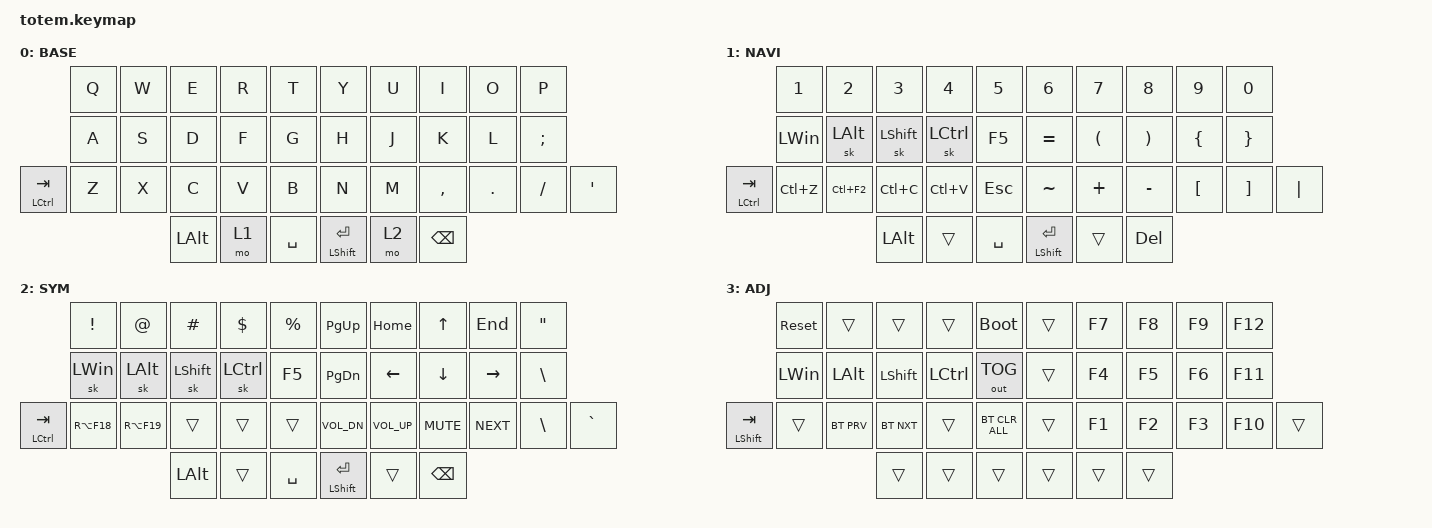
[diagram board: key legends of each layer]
//
//                                                        ▀▀▀▀▀     ▀▀▀▀▀          ▀▀█▀▀
//                                                        ▄▀▀▀▄  ▄  ▄▀▀▀▄  ▄  ▄▀▀▀▄  █  ▄▀▀▀▄
//                                                        █   █  █  █   █  █  █   █  █  █   █
//                                                         ▀▀▀   █   ▀▀▀   █   ▀▀▀   ▀   ▀▀▀
//                                                               █      ▄▄▄█▄▄▄    █   █  
//                                                               ▀      █  █  █     █▄█
//                                                             ▀▀▀▀▀    █  █  █      ▀
//                                                                      ▀  ▀  ▀
//
// ▄▄▄▄▄▄▄▄▄▄▄▄▄▄▄▄▄▄▄▄▄▄▄▄▄▄▄▄▄▄▄▄▄▄▄▄▄▄▄▄▄▄▄▄▄▄▄▄▄▄▄▄▄▄▄▄▄▄▄▄▄▄▄▄▄▄▄▄▄▄▄▄▄▄▄▄▄▄▄▄▄▄▄▄▄▄▄▄▄▄▄▄▄▄▄▄▄▄▄▄▄▄▄▄▄▄▄▄▄▄▄▄▄▄▄▄▄▄▄▄▄▄▄▄▄▄▄▄▄▄▄▄▄▄▄▄▄▄▄▄▄▄▄▄▄▄▄▄▄

#include <behaviors.dtsi>
#include <dt-bindings/zmk/bt.h>
#include <dt-bindings/zmk/keys.h>
#include <dt-bindings/zmk/outputs.h>

#define BASE 0
#define NAV  1
#define SYM  2
#define ADJ  3
#define TVP1 4
#define TVP2 5

&mt {
    global-quick-tap;
    flavor = "hold-preferred";
    tapping-term-ms = <200>;
    quick-tap-ms = <100>;
};

&lt { require-prior-idle-ms = <130>; };

&sk { release-after-ms = <500>; };

/ {
    combos {
        compatible = "zmk,combos";

        combo_esc {
            bindings = <&kp ESC>;
            key-positions = <16 18>;
        };

        combo_win {
            bindings = <&kp LEFT_WIN>;
            key-positions = <1 3>;
        };

        combo_enter {
            bindings = <&none>;
            key-positions = <6 8>;
        };

        F1_combo {
            bindings = <&kp F1>;
            key-positions = <0 1>;
        };

        F2_combo {
            bindings = <&kp F2>;
            key-positions = <1 2>;
        };
    };

    macros {
        gif: gif {
            label = "giphy";
            compatible = "zmk,behavior-macro";
            #binding-cells = <0>;
            bindings =
                <&macro_press>,
                <&kp LSHFT>,
                <&macro_tap>,
                <&kp N2>,
                <&macro_release>,
                <&kp LSHFT>,
                <&macro_tap>,
                <&kp G &kp I &kp F>;
        };
    };

    keymap {
        compatible = "zmk,keymap";

        // ▄▄▄▄▄▄▄▄▄▄▄▄▄▄▄▄▄▄▄▄▄▄▄▄▄▄▄▄▄▄▄▄▄▄▄▄▄▄▄▄▄▄▄▄▄▄▄▄▄▄▄▄▄▄▄▄▄▄▄▄▄▄▄▄▄▄▄▄▄▄▄▄▄▄▄▄▄▄▄▄▄▄▄▄▄▄▄▄▄▄▄▄▄▄▄▄▄▄▄▄▄▄▄▄▄▄▄▄▄▄▄▄▄▄▄▄▄▄▄▄▄▄▄▄▄▄▄▄▄▄▄▄▄▄▄▄▄▄▄▄▄▄▄▄▄▄▄▄▄

        base_layer {
            // ┏━━━━━━━━━━━━━━━━━━━━━━━━━━━━━━━━━━━━━━━┓

            label = "BASE";

            // ┗━━━━━━━━━━━━━━━━━━━━━━━━━━━━━━━━━━━━━━━┛
            //             ┏━━━━━━━━━━━┳━━━━━━━━━━━┳━━━━━━━━━━━┳━━━━━━━━━━━┳━━━━━━━━━━━┓   ┏━━━━━━━━━━━┳━━━━━━━━━━━┳━━━━━━━━━━━┳━━━━━━━━━━━┳━━━━━━━━━━━┓
            //             ┃     Q     ┃     W     ┃     F     ┃     P     ┃     G     ┃   ┃     J     ┃     L     ┃     U     ┃     Y     ┃     ;     ┃
            //             ┣━━━━━━━━━━━╋━━━━━━━━━━━╋━━━━━━━━━━━╋━━━━━━━━━━━╋━━━━━━━━━━━┫   ┣━━━━━━━━━━━╋━━━━━━━━━━━╋━━━━━━━━━━━╋━━━━━━━━━━━╋━━━━━━━━━━━┫
            //             ┃     A     ┃     R     ┃     S     ┃     T     ┃     D     ┃   ┃     H     ┃     N     ┃     E     ┃     I     ┃     O     ┃
            // ┏━━━━━━━━━━━╋━━━━━━━━━━━╋━━━━━━━━━━━╋━━━━━━━━━━━╋━━━━━━━━━━━╋━━━━━━━━━━━┫   ┣━━━━━━━━━━━╋━━━━━━━━━━━╋━━━━━━━━━━━╋━━━━━━━━━━━╋━━━━━━━━━━━╋━━━━━━━━━━━┓
            // ┃     Q     ┃     Z     ┃     X     ┃     C     ┃     V     ┃     B     ┃   ┃     K     ┃     M     ┃     ,     ┃     .     ┃     /     ┃     \     ┃
            // ┗━━━━━━━━━━━┻━━━━━━━━━━━┻━━━━━━━━━━━╋━━━━━━━━━━━╋━━━━━━━━━━━╋━━━━━━━━━━━┫   ┣━━━━━━━━━━━╋━━━━━━━━━━━╋━━━━━━━━━━━╋━━━━━━━━━━━┻━━━━━━━━━━━┻━━━━━━━━━━━┛
            //                                     ┃    DEL    ┃    TAB    ┃    SPC    ┃   ┃   ENTER   ┃           ┃   BSPC    ┃
            //                                     ┗━━━━━━━━━━━┻━━━━━━━━━━━┻━━━━━━━━━━━┛   ┗━━━━━━━━━━━┻━━━━━━━━━━━┻━━━━━━━━━━━┛

            bindings = <
               &kp Q  &kp W  &kp E         &kp R  &kp T        &kp Y             &kp U  &kp I      &kp O    &kp P
               &kp A  &kp S  &kp D         &kp F  &kp G        &kp H             &kp J  &kp K      &kp L    &kp SEMICOLON
&mt LCTRL TAB  &kp Z  &kp X  &kp C         &kp V  &kp B        &kp N             &kp M  &kp COMMA  &kp DOT  &kp FSLH       &kp SQT
                             &kp LEFT_ALT  &mo 1  &kp SPACE    &mt LSHIFT ENTER  &mo 2  &kp BSPC
            >;
        };

        // ▄▄▄▄▄▄▄▄▄▄▄▄▄▄▄▄▄▄▄▄▄▄▄▄▄▄▄▄▄▄▄▄▄▄▄▄▄▄▄▄▄▄▄▄▄▄▄▄▄▄▄▄▄▄▄▄▄▄▄▄▄▄▄▄▄▄▄▄▄▄▄▄▄▄▄▄▄▄▄▄▄▄▄▄▄▄▄▄▄▄▄▄▄▄▄▄▄▄▄▄▄▄▄▄▄▄▄▄▄▄▄▄▄▄▄▄▄▄▄▄▄▄▄▄▄▄▄▄▄▄▄▄▄▄▄▄▄▄▄▄▄▄▄▄▄▄▄▄▄

        nav_layer {
            // ┏━━━━━━━━━━━━━━━━━━━━━━━━━━━━━━━━━━━━━━━┓

            label = "NAVI";

            // ┗━━━━━━━━━━━━━━━━━━━━━━━━━━━━━━━━━━━━━━━┛
            //             ┏━━━━━━━━━━━┳━━━━━━━━━━━┳━━━━━━━━━━━┳━━━━━━━━━━━┳━━━━━━━━━━━┓   ┏━━━━━━━━━━━┳━━━━━━━━━━━┳━━━━━━━━━━━┳━━━━━━━━━━━┳━━━━━━━━━━━┓
            //             ┃           ┃           ┃     UP    ┃           ┃     {     ┃   ┃     }     ┃     7     ┃     8     ┃     9     ┃     +     ┃
            //             ┣━━━━━━━━━━━╋━━━━━━━━━━━╋━━━━━━━━━━━╋━━━━━━━━━━━╋━━━━━━━━━━━┫   ┣━━━━━━━━━━━╋━━━━━━━━━━━╋━━━━━━━━━━━╋━━━━━━━━━━━╋━━━━━━━━━━━┫
            //             ┃   SHIFT   ┃   LEFT    ┃    DOWN   ┃   RIGHT   ┃     [     ┃   ┃     ]     ┃     4     ┃     5     ┃     6     ┃     -     ┃
            // ┏━━━━━━━━━━━╋━━━━━━━━━━━╋━━━━━━━━━━━╋━━━━━━━━━━━╋━━━━━━━━━━━╋━━━━━━━━━━━┫   ┣━━━━━━━━━━━╋━━━━━━━━━━━╋━━━━━━━━━━━╋━━━━━━━━━━━╋━━━━━━━━━━━╋━━━━━━━━━━━┓
            // ┃           ┃           ┃   P UP    ┃  C LOCK   ┃  P DOWN   ┃     (     ┃   ┃     )     ┃     1     ┃     2     ┃     3     ┃     *     ┃           ┃
            // ┗━━━━━━━━━━━┻━━━━━━━━━━━┻━━━━━━━━━━━╋━━━━━━━━━━━╋━━━━━━━━━━━╋━━━━━━━━━━━┫   ┣━━━━━━━━━━━╋━━━━━━━━━━━╋━━━━━━━━━━━╋━━━━━━━━━━━┻━━━━━━━━━━━┻━━━━━━━━━━━┛
            //                                     ┃           ┃    TAB    ┃    SPC    ┃   ┃    DEL    ┃     0     ┃           ┃
            //                                     ┗━━━━━━━━━━━┻━━━━━━━━━━━┻━━━━━━━━━━━┛   ┗━━━━━━━━━━━┻━━━━━━━━━━━┻━━━━━━━━━━━┛

            bindings = <
               &kp NUMBER_1  &kp NUMBER_2  &kp NUMBER_3    &kp NUMBER_4  &kp N5        &kp NUMBER_6      &kp N7                &kp N8                 &kp N9            &kp N0
               &kp LEFT_WIN  &sk LEFT_ALT  &sk LEFT_SHIFT  &sk LCTRL     &kp F5        &kp EQUAL         &kp LEFT_PARENTHESIS  &kp RIGHT_PARENTHESIS  &kp LEFT_BRACE    &kp RIGHT_BRACE
&mt LCTRL TAB  &kp LC(Z)     &kp LC(F2)    &kp LC(C)       &kp LC(V)     &kp ESCAPE    &kp TILDE         &kp PLUS              &kp MINUS              &kp LEFT_BRACKET  &kp RIGHT_BRACKET  &kp PIPE
                                           &kp LEFT_ALT    &trans        &kp SPACE     &mt LSHIFT ENTER  &trans                &kp DEL
            >;
        };

        // ▄▄▄▄▄▄▄▄▄▄▄▄▄▄▄▄▄▄▄▄▄▄▄▄▄▄▄▄▄▄▄▄▄▄▄▄▄▄▄▄▄▄▄▄▄▄▄▄▄▄▄▄▄▄▄▄▄▄▄▄▄▄▄▄▄▄▄▄▄▄▄▄▄▄▄▄▄▄▄▄▄▄▄▄▄▄▄▄▄▄▄▄▄▄▄▄▄▄▄▄▄▄▄▄▄▄▄▄▄▄▄▄▄▄▄▄▄▄▄▄▄▄▄▄▄▄▄▄▄▄▄▄▄▄▄▄▄▄▄▄▄▄▄▄▄▄▄▄▄

        sim_layer {
            // ┏━━━━━━━━━━━━━━━━━━━━━━━━━━━━━━━━━━━━━━━┓

            label = "SYM";

            // ┗━━━━━━━━━━━━━━━━━━━━━━━━━━━━━━━━━━━━━━━┛
            //             ┏━━━━━━━━━━━┳━━━━━━━━━━━┳━━━━━━━━━━━┳━━━━━━━━━━━┳━━━━━━━━━━━┓   ┏━━━━━━━━━━━┳━━━━━━━━━━━┳━━━━━━━━━━━┳━━━━━━━━━━━┳━━━━━━━━━━━┓
            //             ┃     !     ┃     @     ┃     #     ┃     $     ┃     %     ┃   ┃     ˆ     ┃     &     ┃     Ü     ┃     '     ┃     "     ┃
            //             ┣━━━━━━━━━━━╋━━━━━━━━━━━╋━━━━━━━━━━━╋━━━━━━━━━━━╋━━━━━━━━━━━┫   ┣━━━━━━━━━━━╋━━━━━━━━━━━╋━━━━━━━━━━━╋━━━━━━━━━━━╋━━━━━━━━━━━┫
            //             ┃     Ä     ┃           ┃    SZ     ┃           ┃           ┃   ┃   MUTE    ┃   YEN     ┃   EURO    ┃  POUND    ┃     Ö     ┃
            // ┏━━━━━━━━━━━╋━━━━━━━━━━━╋━━━━━━━━━━━╋━━━━━━━━━━━╋━━━━━━━━━━━╋━━━━━━━━━━━┫   ┣━━━━━━━━━━━╋━━━━━━━━━━━╋━━━━━━━━━━━╋━━━━━━━━━━━╋━━━━━━━━━━━╋━━━━━━━━━━━┓
            // ┃           ┃  EMAIL1   ┃  EMAIL2   ┃           ┃           ┃           ┃   ┃   VOL-    ┃   VOL+    ┃   LAST    ┃   NEXT    ┃     \     ┃           ┃
            // ┗━━━━━━━━━━━┻━━━━━━━━━━━┻━━━━━━━━━━━╋━━━━━━━━━━━╋━━━━━━━━━━━╋━━━━━━━━━━━┫   ┣━━━━━━━━━━━╋━━━━━━━━━━━╋━━━━━━━━━━━╋━━━━━━━━━━━┻━━━━━━━━━━━┻━━━━━━━━━━━┛
            //                                     ┃           ┃    GIF    ┃    ADJ    ┃   ┃           ┃           ┃           ┃
            //                                     ┗━━━━━━━━━━━┻━━━━━━━━━━━┻━━━━━━━━━━━┛   ┗━━━━━━━━━━━┻━━━━━━━━━━━┻━━━━━━━━━━━┛

            bindings = <
               &kp EXCL      &kp AT        &kp HASH        &kp DLLR   &kp PRCNT    &kp PAGE_UP       &kp HOME        &kp UP_ARROW    &kp END          &kp DQT
               &sk LEFT_WIN  &sk LEFT_ALT  &sk LEFT_SHIFT  &sk LCTRL  &kp F5       &kp PAGE_DOWN     &kp LEFT_ARROW  &kp DOWN_ARROW  &kp RIGHT_ARROW  &kp BACKSLASH
&mt LCTRL TAB  &kp RA(F18)   &kp RA(F19)   &trans          &trans     &trans       &kp C_VOL_DN      &kp C_VOL_UP    &kp C_MUTE      &kp C_NEXT       &kp BSLH       &kp GRAVE
                                           &kp LEFT_ALT    &trans     &kp SPACE    &mt LSHIFT ENTER  &trans          &kp BACKSPACE
            >;
        };

        // ▄▄▄▄▄▄▄▄▄▄▄▄▄▄▄▄▄▄▄▄▄▄▄▄▄▄▄▄▄▄▄▄▄▄▄▄▄▄▄▄▄▄▄▄▄▄▄▄▄▄▄▄▄▄▄▄▄▄▄▄▄▄▄▄▄▄▄▄▄▄▄▄▄▄▄▄▄▄▄▄▄▄▄▄▄▄▄▄▄▄▄▄▄▄▄▄▄▄▄▄▄▄▄▄▄▄▄▄▄▄▄▄▄▄▄▄▄▄▄▄▄▄▄▄▄▄▄▄▄▄▄▄▄▄▄▄▄▄▄▄▄▄▄▄▄▄▄▄▄

        adjust_layer {
            // ┏━━━━━━━━━━━━━━━━━━━━━━━━━━━━━━━━━━━━━━━┓

            label = "ADJ";

            // ┗━━━━━━━━━━━━━━━━━━━━━━━━━━━━━━━━━━━━━━━┛
            //             ┏━━━━━━━━━━━┳━━━━━━━━━━━┳━━━━━━━━━━━┳━━━━━━━━━━━┳━━━━━━━━━━━┓   ┏━━━━━━━━━━━┳━━━━━━━━━━━┳━━━━━━━━━━━┳━━━━━━━━━━━┳━━━━━━━━━━━┓
            //             ┃   RESET   ┃ BT CLEAR  ┃  OUT TOG  ┃           ┃           ┃   ┃           ┃    F7     ┃    F8     ┃    F9     ┃    F12    ┃
            //             ┣━━━━━━━━━━━╋━━━━━━━━━━━╋━━━━━━━━━━━╋━━━━━━━━━━━╋━━━━━━━━━━━┫   ┣━━━━━━━━━━━╋━━━━━━━━━━━╋━━━━━━━━━━━╋━━━━━━━━━━━╋━━━━━━━━━━━┫
            //             ┃ BOOTLOAD  ┃ BT NEXT   ┃           ┃           ┃      FG     ┃   ┃           ┃    F4     ┃    F5     ┃    F6     ┃    F11    ┃
            // ┏━━━━━━━━━━━╋━━━━━━━━━━━╋━━━━━━━━━━━╋━━━━━━━━━━━╋━━━━━━━━━━━╋━━━━━━━━━━━┫   ┣━━━━━━━━━━━╋━━━━━━━━━━━╋━━━━━━━━━━━╋━━━━━━━━━━━╋━━━━━━━━━━━╋━━━━━━━━━━━┓
            // ┃           ┃           ┃ BT PREV   ┃           ┃           ┃           ┃   ┃           ┃    F1     ┃    F2     ┃    F3     ┃    F10    ┃           ┃
            // ┗━━━━━━━━━━━┻━━━━━━━━━━━┻━━━━━━━━━━━╋━━━━━━━━━━━╋━━━━━━━━━━━╋━━━━━━━━━━━┫   ┣━━━━━━━━━━━╋━━━━━━━━━━━╋━━━━━━━━━━━╋━━━━━━━━━━━┻━━━━━━━━━━━┻━━━━━━━━━━━┛
            //                                     ┃           ┃           ┃           ┃   ┃           ┃           ┃           ┃
            //                                     ┗━━━━━━━━━━━┻━━━━━━━━━━━┻━━━━━━━━━━━┛   ┗━━━━━━━━━━━┻━━━━━━━━━━━┻━━━━━━━━━━━┛

            bindings = <
                    &sys_reset    &trans        &trans          &trans     &bootloader       &trans  &kp F7  &kp F8  &kp F9  &kp F12
                    &kp LEFT_WIN  &kp LEFT_ALT  &kp LEFT_SHIFT  &kp LCTRL  &out OUT_TOG      &trans  &kp F4  &kp F5  &kp F6  &kp F11
&mt LEFT_SHIFT TAB  &trans        &bt BT_PRV    &bt BT_NXT      &trans     &bt BT_CLR_ALL    &trans  &kp F1  &kp F2  &kp F3  &kp F10  &trans
                                                &trans          &trans     &trans            &trans  &trans  &trans
            >;
        };

        // ▄▄▄▄▄▄▄▄▄▄▄▄▄▄▄▄▄▄▄▄▄▄▄▄▄▄▄▄▄▄▄▄▄▄▄▄▄▄▄▄▄▄▄▄▄▄▄▄▄▄▄▄▄▄▄▄▄▄▄▄▄▄▄▄▄▄▄▄▄▄▄▄▄▄▄▄▄▄▄▄▄▄▄▄▄▄▄▄▄▄▄▄▄▄▄▄▄▄▄▄▄▄▄▄▄▄▄▄▄▄▄▄▄▄▄▄▄▄▄▄▄▄▄▄▄▄▄▄▄▄▄▄▄▄▄▄▄▄▄▄▄▄▄▄▄▄▄▄▄
        // ▄▄▄▄▄▄▄▄▄▄▄▄▄▄▄▄▄▄▄▄▄▄▄▄▄▄▄▄▄▄▄▄▄▄▄▄▄▄▄▄▄▄▄▄▄▄▄▄▄▄▄▄▄▄▄▄▄▄▄▄▄▄▄▄▄▄▄▄▄▄▄▄▄▄▄▄▄▄▄▄▄▄▄▄▄▄▄▄▄▄▄▄▄▄▄▄▄▄▄▄▄▄▄▄▄▄▄▄▄▄▄▄▄▄▄▄▄▄▄▄▄▄▄▄▄▄▄▄▄▄▄▄▄▄▄▄▄▄▄▄▄▄▄▄▄▄▄▄▄
    };

    conditional_layers {
        compatible = "zmk,conditional-layers";

        ADJ_cond {
            if-layers = <1 2>;
            then-layer = <3>;
        };
    };
};
